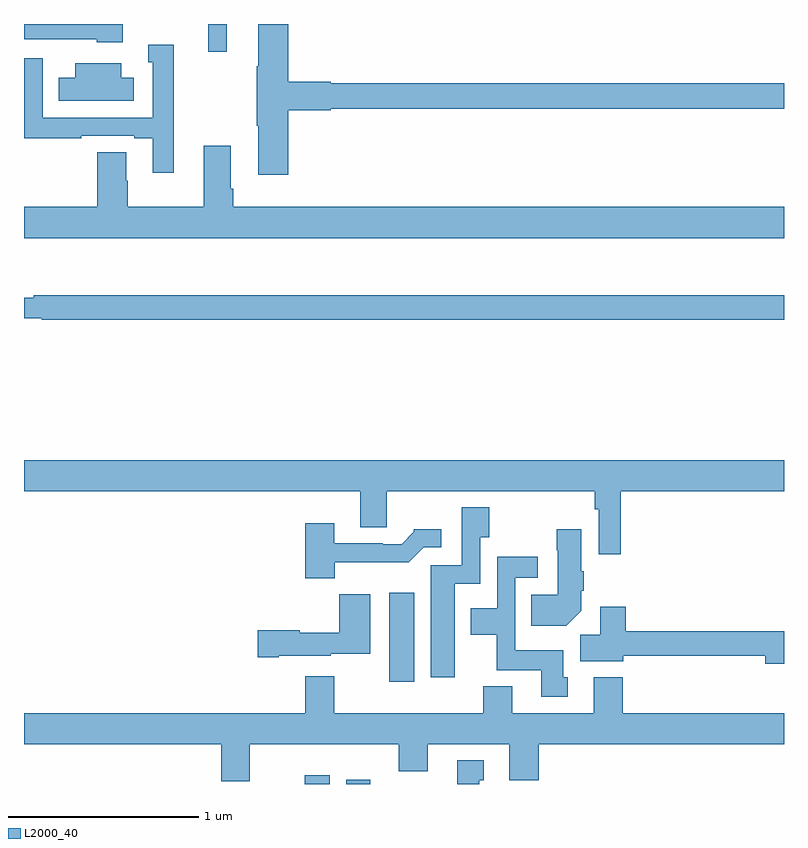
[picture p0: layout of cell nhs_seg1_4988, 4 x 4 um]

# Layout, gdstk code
import gdstk
lib = gdstk.Library(unit=1e-6, precision=1e-09)
def R(c, l, rs):  # rectangles x0, y0, x1, y1
    for r in rs: c.add(gdstk.rectangle(r[:2], r[2:], *l))
def P(c, l, *ps):  # polygons
    for p in ps: c.add(gdstk.Polygon(p, *l))
L2000_40 = (2000, 40)

nhs_seg1_4988 = lib.new_cell('nhs_seg1_4988')
R(nhs_seg1_4988, L2000_40, [(382.478,542.199,382.609,542.245), (382.697,542.199,382.822,542.221), (382.922,542.736,383.053,543.205), (381.969,546.054,382.066,546.199)])
P(nhs_seg1_4988, L2000_40, [(382.391,545.744),(382.614,545.744),(382.614,545.752),(385,545.752),(385,545.888),(382.614,545.888),(382.614,545.896),(382.391,545.896),(382.391,546.199),(382.232,546.199),(382.232,545.977),(382.225,545.977),(382.225,545.663),(382.232,545.663),(382.232,545.406),(382.391,545.406)],
  [(381.52,546.199),(381,546.199),(381,546.12),(381.384,546.12),(381.384,546.104),(381.52,546.104)],
  [(381.787,546.091),(381.653,546.091),(381.653,545.997),(381.678,545.997),(381.678,545.706),(381.099,545.706),(381.099,546.018),(381,546.018),(381,545.902),(381.001,545.902),(381.001,545.598),(381.302,545.598),(381.302,545.61),(381.581,545.61),(381.581,545.598),(381.677,545.598),(381.677,545.415),(381.787,545.415)],
  [(381.577,545.917),(381.511,545.917),(381.511,545.992),(381.269,545.992),(381.269,545.917),(381.184,545.917),(381.184,545.795),(381.577,545.795)],
  [(382.087,545.332),(382.087,545.557),(381.947,545.557),(381.947,545.236),(381.546,545.236),(381.546,545.375),(381.538,545.375),(381.538,545.525),(381.386,545.525),(381.386,545.236),(381,545.236),(381,545.072),(385,545.072),(385,545.236),(382.1,545.236),(382.1,545.332)],
  [(385,544.771),(381.052,544.771),(381.052,544.758),(381,544.758),(381,544.65),(381.093,544.65),(381.093,544.642),(385,544.642)],
  [(381,543.74),(382.769,543.74),(382.769,543.55),(382.909,543.55),(382.909,543.74),(384.004,543.74),(384.004,543.644),(384.024,543.644),(384.024,543.408),(384.14,543.408),(384.14,543.74),(385,543.74),(385,543.904),(381,543.904)],
  [(383.266,543.254),(383.4,543.254),(383.4,543.499),(383.448,543.499),(383.448,543.655),(383.304,543.655),(383.304,543.351),(383.141,543.351),(383.141,542.76),(383.266,542.76)],
  [(382.636,543.366),(383.025,543.366),(383.103,543.444),(383.197,543.444),(383.197,543.541),(383.052,543.541),(383.052,543.526),(382.988,543.462),(382.889,543.462),(382.889,543.465),(382.633,543.465),(382.633,543.571),(382.481,543.571),(382.481,543.281),(382.636,543.281)],
  [(383.932,543.11),(383.932,543.217),(383.945,543.217),(383.945,543.32),(383.932,543.32),(383.932,543.541),(383.803,543.541),(383.803,543.428),(383.81,543.428),(383.81,543.196),(383.671,543.196),(383.671,543.032),(383.854,543.032)],
  [(383.863,542.76),(383.839,542.76),(383.839,542.902),(383.586,542.902),(383.586,543.285),(383.704,543.285),(383.704,543.394),(383.49,543.394),(383.49,543.124),(383.351,543.124),(383.351,542.984),(383.488,542.984),(383.488,542.798),(383.723,542.798),(383.723,542.658),(383.863,542.658)],
  [(382.342,542.873),(382.614,542.873),(382.614,542.885),(382.822,542.885),(382.822,543.199),(382.66,543.199),(382.66,542.995),(382.452,542.995),(382.452,543.008),(382.23,543.008),(382.23,542.866),(382.342,542.866)],
  [(385,543.002),(384.167,543.002),(384.167,543.133),(384.032,543.133),(384.032,542.984),(383.927,542.984),(383.927,542.846),(384.154,542.846),(384.154,542.874),(384.902,542.874),(384.902,542.831),(385,542.831)],
  [(382.189,542.408),(382.973,542.408),(382.973,542.267),(383.125,542.267),(383.125,542.408),(383.555,542.408),(383.555,542.219),(383.708,542.219),(383.708,542.408),(385,542.408),(385,542.572),(384.152,542.572),(384.152,542.761),(383.999,542.761),(383.999,542.572),(383.569,542.572),(383.569,542.713),(383.417,542.713),(383.417,542.572),(382.633,542.572),(382.633,542.767),(382.481,542.767),(382.481,542.572),(381,542.572),(381,542.408),(382.037,542.408),(382.037,542.214),(382.189,542.214)],
  [(383.395,542.22),(383.419,542.22),(383.419,542.323),(383.279,542.323),(383.279,542.199),(383.395,542.199)])

lib.write_gds('nhs_seg1_4988.gds')
